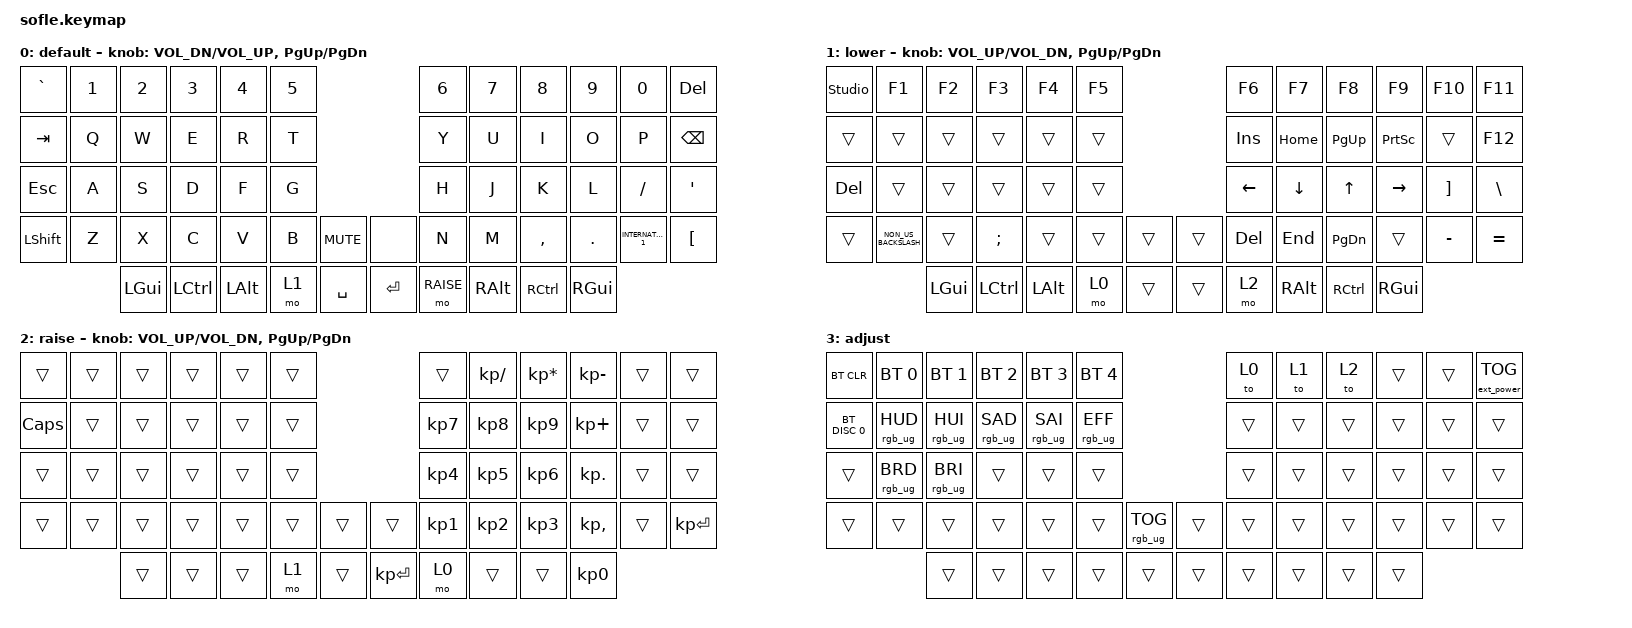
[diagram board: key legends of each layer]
/*
 * Copyright (c) 2020 The ZMK Contributors
 *
 * SPDX-License-Identifier: MIT
 */

#include <behaviors.dtsi>
#include <dt-bindings/zmk/bt.h>
#include <dt-bindings/zmk/ext_power.h>
#include <dt-bindings/zmk/keys.h>
#include <dt-bindings/zmk/rgb.h>

#define BASE 0
#define LOWER 1
#define RAISE 2
#define ADJUST 3

/ {
    // Activate ADJUST layer by pressing raise and lower

    conditional_layers {
        compatible = "zmk,conditional-layers";

        adjust_layer {
            if-layers = <LOWER RAISE>;
            then-layer = <ADJUST>;
        };
    };

    combos { compatible = "zmk,combos"; };

    keymap {
        compatible = "zmk,keymap";

        default_layer {
            display-name = "default";

            // ------------------------------------------------------------------------------------------------------------
            // |   `   |  1  |  2  |  3   |  4   |  5   |                   |  6   |  7    |  8    |  9   |   0   |       |
            // |  ESC  |  Q  |  W  |  E   |  R   |  T   |                   |  Y   |  U    |  I    |  O   |   P   | BKSPC |
            // |  TAB  |  A  |  S  |  D   |  F   |  G   |                   |  H   |  J    |  K    |  L   |   ;   |   '   |
            // | SHIFT |  Z  |  X  |  C   |  V   |  B   |  MUTE  |  |       |  N   |  M    |  ,    |  .   |   /   | SHIFT |
            //               | GUI | ALT  | CTRL | LOWER|  ENTER |  | SPACE | RAISE| CTRL  | ALT   | GUI  |

            bindings = <
&kp GRAVE   &kp N1  &kp N2        &kp N3     &kp N4        &kp N5                           &kp N6     &kp N7         &kp N8     &kp N9    &kp N0               &kp DELETE
&kp TAB     &kp Q   &kp W         &kp E      &kp R         &kp T                            &kp Y      &kp U          &kp I      &kp O     &kp P                &kp BSPC
&kp ESCAPE  &kp A   &kp S         &kp D      &kp F         &kp G                            &kp H      &kp J          &kp K      &kp L     &kp SLASH            &kp APOS
&kp LSHFT   &kp Z   &kp X         &kp C      &kp V         &kp B   &kp C_MUTE    &none      &kp N      &kp M          &kp COMMA  &kp DOT   &kp INTERNATIONAL_1  &kp LEFT_BRACKET
                    &kp LEFT_GUI  &kp LCTRL  &kp LEFT_ALT  &mo 1   &kp SPACE     &kp ENTER  &mo RAISE  &kp RIGHT_ALT  &kp RCTRL  &kp RGUI
            >;

            sensor-bindings =
                <&inc_dec_kp C_VOL_DN C_VOL_UP>,
                <&inc_dec_kp PG_UP PG_DN>;
        };

        lower_layer {
            display-name = "lower";

            // TODO: Some binds are waiting for shifted keycode support.
            // ------------------------------------------------------------------------------------------------------------
            // |       |  F1 |  F2 |  F3  |  F4  |  F5  |                   |  F6  |  F7   |  F8   |  F9  |  F10  |  F11  |
            // |   `   |  1  |  2  |  3   |  4   |  5   |                   |  6   |  7    |  8    |  9   |   0   |  F12  |
            // |       |  !  |  @  |  #   |  $   |  %   |                   |  ^   |  &    |  *    |  (   |   )   |   |   |
            // |       |  =  |  -  |  +   |  {   |  }   |        |  |       |  [   |  ]    |  ;    |  :   |   \   |       |
            //               |     |      |      |      |        |  |       |      |       |       |      |

            bindings = <
&studio_unlock  &kp F1                &kp F2        &kp F3     &kp F4        &kp F5                    &kp F6          &kp F7          &kp F8         &kp F9           &kp F10            &kp F11
&trans          &trans                &trans        &trans     &trans        &trans                    &kp INSERT      &kp HOME        &kp PAGE_UP    &kp PRINTSCREEN  &trans             &kp F12
&kp DELETE      &trans                &trans        &trans     &trans        &trans                    &kp LEFT_ARROW  &kp DOWN_ARROW  &kp UP_ARROW   &kp RIGHT_ARROW  &kp RIGHT_BRACKET  &kp BACKSLASH
&trans          &kp NON_US_BACKSLASH  &trans        &kp SEMI   &trans        &trans  &trans    &trans  &kp DELETE      &kp END         &kp PAGE_DOWN  &trans           &kp MINUS          &kp EQUAL
                                      &kp LEFT_GUI  &kp LCTRL  &kp LEFT_ALT  &mo 0   &trans    &trans  &mo 2           &kp RIGHT_ALT   &kp RCTRL      &kp RIGHT_GUI
            >;

            sensor-bindings = <&inc_dec_kp C_VOL_UP C_VOL_DN &inc_dec_kp PG_UP PG_DN>;
        };

        numeric_kb {
            display-name = "raise";

            // ------------------------------------------------------------------------------------------------------------
            // | BTCLR | BT1  | BT2  |  BT3  |  BT4  |  BT5 |                |      |      |       |      |       |       |
            // |       | INS  | PSCR | GUI   |       |      |                | PGUP |      |   ^   |      |       |       |
            // |       | ALT  | CTRL | SHIFT |       | CAPS |                | PGDN |   <- |   v   |  ->  |  DEL  | BKSPC |
            // |       | UNDO | CUT  | COPY  | PASTE |      |      |  |      |      |      |       |      |       |       |
            //                |      |       |       |      |      |  |      |      |      |       |      |

            bindings = <
&trans        &trans  &trans  &trans  &trans  &trans                          &trans           &kp KP_DIVIDE    &kp KP_MULTIPLY  &kp KP_MINUS     &trans  &trans
&kp CAPSLOCK  &trans  &trans  &trans  &trans  &trans                          &kp KP_NUMBER_7  &kp KP_NUMBER_8  &kp KP_NUMBER_9  &kp KP_PLUS      &trans  &trans
&trans        &trans  &trans  &trans  &trans  &trans                          &kp KP_NUMBER_4  &kp KP_NUMBER_5  &kp KP_NUMBER_6  &kp KP_DOT       &trans  &trans
&trans        &trans  &trans  &trans  &trans  &trans  &trans    &trans        &kp KP_NUMBER_1  &kp KP_NUMBER_2  &kp KP_NUMBER_3  &kp KP_COMMA     &trans  &kp KP_ENTER
                      &trans  &trans  &trans  &mo 1   &trans    &kp KP_ENTER  &mo 0            &trans           &trans           &kp KP_NUMBER_0
            >;

            sensor-bindings = <&inc_dec_kp C_VOL_UP C_VOL_DN &inc_dec_kp PG_UP PG_DN>;
        };

        adjust_layer {
            // ----------------------------------------------------------------------------------------------------------------------------
            // | BTCLR  |  BT1    |  BT2    |   BT3   |   BT4   |   BT5   |                  |      |      |       |      |       |       |
            // | EXTPWR | RGB_HUD | RGB_HUI | RGB_SAD | RGB_SAI | RGB_EFF |                  |      |      |       |      |       |       |
            // |        | RGB_BRD | RGB_BRI |         |         |         |                  |      |      |       |      |       |       |
            // |        |         |         |         |         |         | RGB_TOG | |      |      |      |       |      |       |       |
            //                    |         |         |         |         |         | |      |      |      |       |      |

            display-name = "adjust";
            bindings = <
&bt BT_CLR     &bt BT_SEL 0     &bt BT_SEL 1     &bt BT_SEL 2     &bt BT_SEL 3     &bt BT_SEL 4                                &to 0   &to 1   &to 2   &trans  &trans  &ext_power EP_TOG
&bt BT_DISC 0  &rgb_ug RGB_HUD  &rgb_ug RGB_HUI  &rgb_ug RGB_SAD  &rgb_ug RGB_SAI  &rgb_ug RGB_EFF                             &trans  &trans  &trans  &trans  &trans  &trans
&trans         &rgb_ug RGB_BRD  &rgb_ug RGB_BRI  &trans           &trans           &trans                                      &trans  &trans  &trans  &trans  &trans  &trans
&trans         &trans           &trans           &trans           &trans           &trans           &rgb_ug RGB_TOG    &trans  &trans  &trans  &trans  &trans  &trans  &trans
                                &trans           &trans           &trans           &trans           &trans             &trans  &trans  &trans  &trans  &trans
            >;
        };
    };
};
